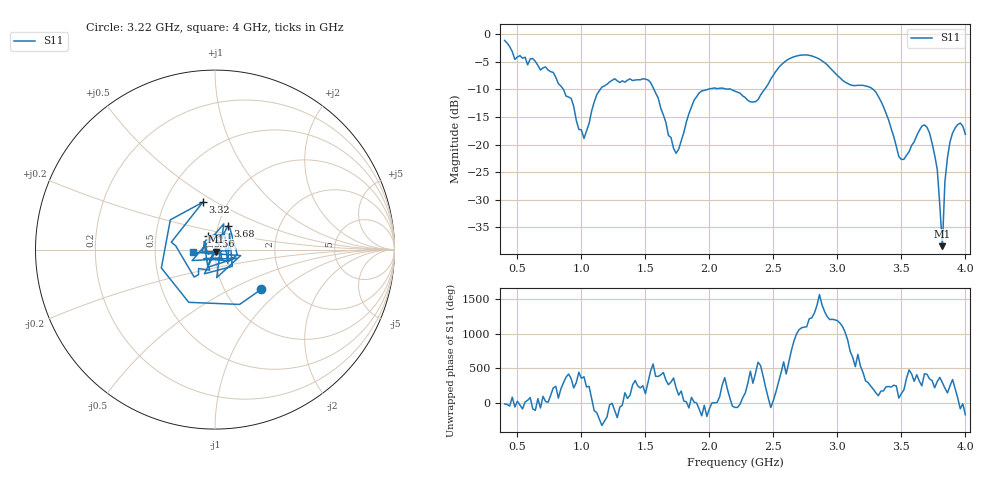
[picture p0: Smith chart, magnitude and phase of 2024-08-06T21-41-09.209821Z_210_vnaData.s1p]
!Created with skrf (http://scikit-rf.org).
# Hz S RI R 50.0
!freq ReS11 ImS11
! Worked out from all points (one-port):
!   181 points, 400 MHz to 4 GHz, reference 50 ohm
!   lowest |S11| = -38.4 dB at 3.82 GHz (marker M1), VSWR 1.02, Z = 50.5 - j1.11 ohm
!   |S11| at or under -10 dB: 859.8 MHz to 1.147 GHz (287.5 MHz wide, 28.6 % of centre); 1.567 GHz to 1.988 GHz (421.5 MHz wide, 23.7 % of centre); 3.279 GHz to end of sweep (the widest 3 of 4)
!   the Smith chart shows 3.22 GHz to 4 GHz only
!   S11 on the Smith chart (normalised r, x): 3.22 GHz: 1.47, -0.74; 3.32 GHz: 0.76, +0.44; 3.56 GHz: 0.91, +0.14; 3.68 GHz: 1.11, +0.30; 4 GHz: 0.78, -0.02
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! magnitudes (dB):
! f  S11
! 400 MHz  -1.1
! 480 MHz  -4.6
! 620 MHz  -4.4
! 860 MHz  -10.0
! 1.02 GHz  -18.9
! 1.14 GHz  -10.2
! 1.3 GHz  -8.8
! 1.54 GHz  -8.7
! 1.72 GHz  -20.7
! 1.76 GHz  -20.8
! 1.92 GHz  -10.6
! 2.2 GHz  -10.3
! 2.36 GHz  -12.2
! 2.66 GHz  -4.1
! 2.86 GHz  -4.5
! 3.1 GHz  -9.2
! 3.22 GHz  -9.4
! 3.32 GHz  -11.3
! 3.48 GHz  -22.2
! 3.56 GHz  -21.3
! 3.68 GHz  -16.5
! 3.72 GHz  -17.9
! 3.78 GHz  -24.5
! 3.82 GHz  -38.4
! 3.84 GHz  -26.7
! 3.88 GHz  -19.5
! 3.96 GHz  -16.1
! 4 GHz  -18.2
